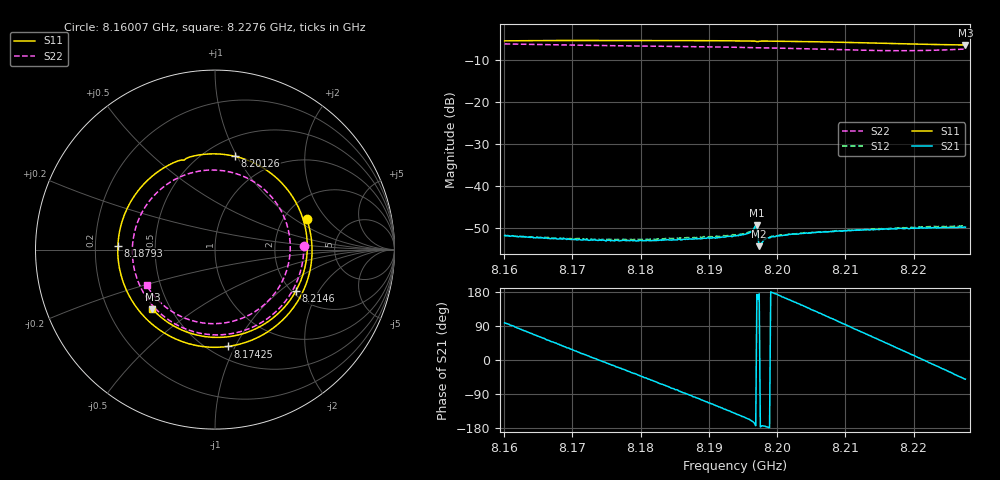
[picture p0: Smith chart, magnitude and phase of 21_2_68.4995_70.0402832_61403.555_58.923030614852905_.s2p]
#  HZ  S  RI  R  50.00
! Rohde & Schwarz Vector Network Analyzer
! Rohde-Schwarz,ZNB20-2Port,1311601062101988,3.16
! Created: UTC 3/20/2024, 5:04:41 PM
! freq[Hz]  re:S11  im:S11  re:S21  im:S21  re:S12  im:S12  re:S22  im:S22
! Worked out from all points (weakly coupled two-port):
!   401 points, 8.16007 GHz to 8.2276 GHz, reference 50 ohm
!   highest |S21| = -49.35 dB at 8.19704 GHz (marker M1); lowest = -54.3 dB at 8.19738 GHz (marker M2)
!   lowest |S11| = -6.4 dB at 8.2276 GHz (marker M3), VSWR 2.85, Z = 19.9 - j17.2 ohm
!   |S11| at or under -10 dB: nowhere
!   |S22| runs from -7.7 to -6.1 dB; largest |S21 - S12| = 0.00023
!   S11 on the Smith chart (normalised r, x): 8.16007 GHz: 2.64, +1.28; 8.17425 GHz: 0.61, -0.93; 8.18793 GHz: 0.30, +0.02; 8.20126 GHz: 0.68, +0.98; 8.2146 GHz: 2.10, -1.30; 8.2276 GHz: 0.40, -0.34
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8.160069e9  0.5104 0.1717  -0.000355 0.00255  -0.000394 0.00258  0.4945 0.0225
8.165472e9  0.5102 -0.1844  0.00123 0.00209  0.00127 0.0021  0.398 -0.2802
8.171381e9  0.2555 -0.4806  0.00218 0.000672  0.00223 0.000732  0.1144 -0.464
8.174251e9  0.0703 -0.5398  0.00226 -9.81e-05  0.00231 -0.000137  -0.049 -0.4713
8.178302e9  -0.2026 -0.5049  0.00193 -0.00114  0.00199 -0.00119  -0.2619 -0.3893
8.182692e9  -0.4387 -0.3204  0.00108 -0.00199  0.00113 -0.00209  -0.4179 -0.2025
8.187926e9  -0.5411 0.0224  -0.000309 -0.00233  -0.000366 -0.00242  -0.4516 0.0823
8.190796e9  -0.4951 0.2169  -0.00117 -0.00214  -0.00126 -0.00216  -0.3936 0.2301
8.193835e9  -0.372 0.3896  -0.00198 -0.00162  -0.00209 -0.00158  -0.28 0.3546
8.196705e9  -0.199 0.4963  -0.00311 -0.000699  -0.00317 -0.000587  -0.1363 0.4261
8.197042e9  -0.175 0.4983  -0.00338 0.000405  -0.00343 0.000587  -0.118 0.4308
8.19738e9  -0.1616 0.5072  -0.00192 0.000178  -0.00195 0.000289  -0.0997 0.4349
8.197718e9  -0.1377 0.5166  -0.00209 -0.000213  -0.00216 -9.65e-05  -0.0808 0.4384
8.198731e9  -0.066 0.5304  -0.00243 -8.3e-05  -0.00247 -1.51e-05  -0.0236 0.4434
8.201263e9  0.1121 0.5196  -0.00249 0.000761  -0.00248 0.000883  0.1186 0.4227
8.205146e9  0.3516 0.3909  -0.00189 0.00208  -0.00183 0.00213  0.3061 0.3035
8.210042e9  0.5093 0.0873  -0.000163 0.00294  -0.00011 0.00295  0.4186 0.0404
8.2146e9  0.4515 -0.2292  0.00169 0.00255  0.00182 0.0025  0.3454 -0.2265
8.216457e9  0.3722 -0.3366  0.00232 0.00204  0.00242 0.002  0.2661 -0.3137
8.219327e9  0.2016 -0.4523  0.00296 0.000946  0.0031 0.000854  0.1016 -0.3986
8.222029e9  0.0107 -0.4893  0.00317 -0.00024  0.00327 -0.000354  -0.0768 -0.4072
8.2276e9  -0.3484 -0.3319  0.00206 -0.00251  0.00197 -0.00272  -0.3816 -0.1982
